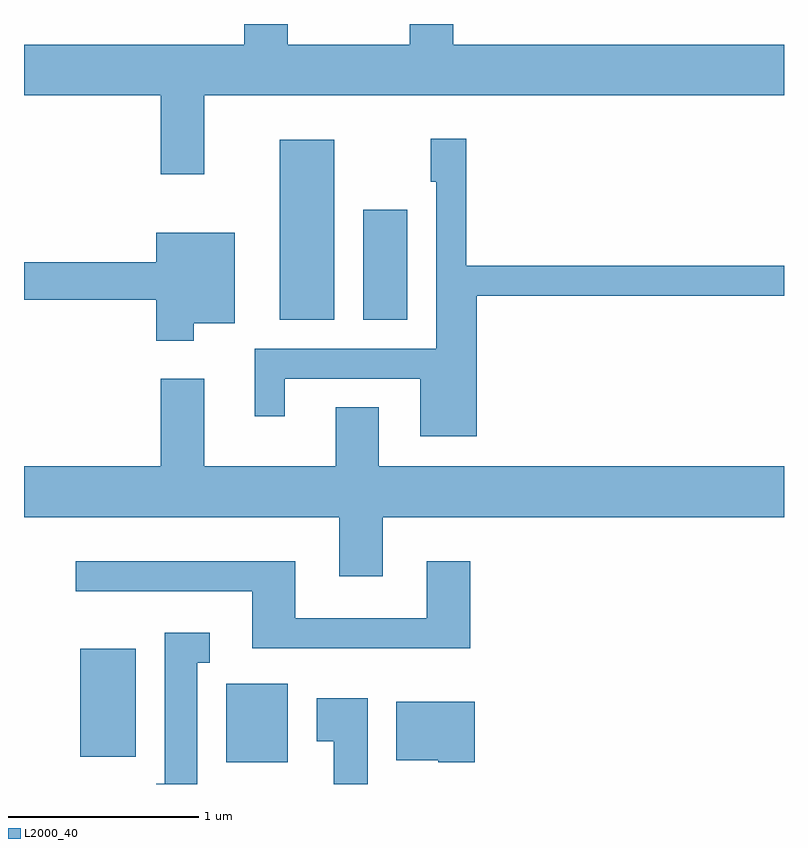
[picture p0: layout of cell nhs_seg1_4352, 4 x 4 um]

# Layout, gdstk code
import gdstk
lib = gdstk.Library(unit=1e-6, precision=1e-09)
def R(c, l, rs):  # rectangles x0, y0, x1, y1
    for r in rs: c.add(gdstk.rectangle(r[:2], r[2:], *l))
def P(c, l, *ps):  # polygons
    for p in ps: c.add(gdstk.Polygon(p, *l))
L2000_40 = (2000, 40)

nhs_seg1_4352 = lib.new_cell('nhs_seg1_4352')
R(nhs_seg1_4352, L2000_40, [(316.676,913.826,316.999,914.239), (315.906,913.856,316.199,914.424), (316.956,916.156,317.244,917.104), (317.396,916.156,317.629,916.734)])
P(nhs_seg1_4352, L2000_40, [(316.559,917.336),(319.611,917.336),(319.611,917.604),(317.869,917.604),(317.869,917.712),(317.641,917.712),(317.641,917.604),(316.999,917.604),(316.999,917.712),(316.771,917.712),(316.771,917.604),(315.611,917.604),(315.611,917.336),(316.331,917.336),(316.331,916.921),(316.559,916.921)],
  [(317.994,916.281),(319.611,916.281),(319.611,916.439),(317.939,916.439),(317.939,917.109),(317.751,917.109),(317.751,916.881),(317.781,916.881),(317.781,916.004),(316.826,916.004),(316.826,915.648),(316.984,915.648),(316.984,915.846),(317.696,915.846),(317.696,915.541),(317.994,915.541)],
  [(316.504,916.136),(316.719,916.136),(316.719,916.614),(316.306,916.614),(316.306,916.459),(315.611,916.459),(315.611,916.261),(316.306,916.261),(316.306,916.046),(316.504,916.046)],
  [(317.499,915.116),(319.611,915.116),(319.611,915.384),(317.479,915.384),(317.479,915.694),(317.251,915.694),(317.251,915.384),(316.559,915.384),(316.559,915.844),(316.331,915.844),(316.331,915.384),(315.611,915.384),(315.611,915.116),(317.271,915.116),(317.271,914.806),(317.499,914.806)],
  [(317.959,914.884),(317.731,914.884),(317.731,914.584),(317.039,914.584),(317.039,914.884),(315.883,914.884),(315.883,914.726),(316.811,914.726),(316.811,914.426),(317.959,914.426)],
  [(316.524,914.351),(316.588,914.351),(316.588,914.509),(316.351,914.509),(316.351,913.714),(316.306,913.714),(316.306,913.712),(316.524,913.712)],
  [(317.419,914.164),(317.151,914.164),(317.151,913.936),(317.241,913.936),(317.241,913.712),(317.419,913.712)],
  [(317.984,914.144),(317.571,914.144),(317.571,913.836),(317.79,913.836),(317.79,913.826),(317.984,913.826)])

lib.write_gds('nhs_seg1_4352.gds')
